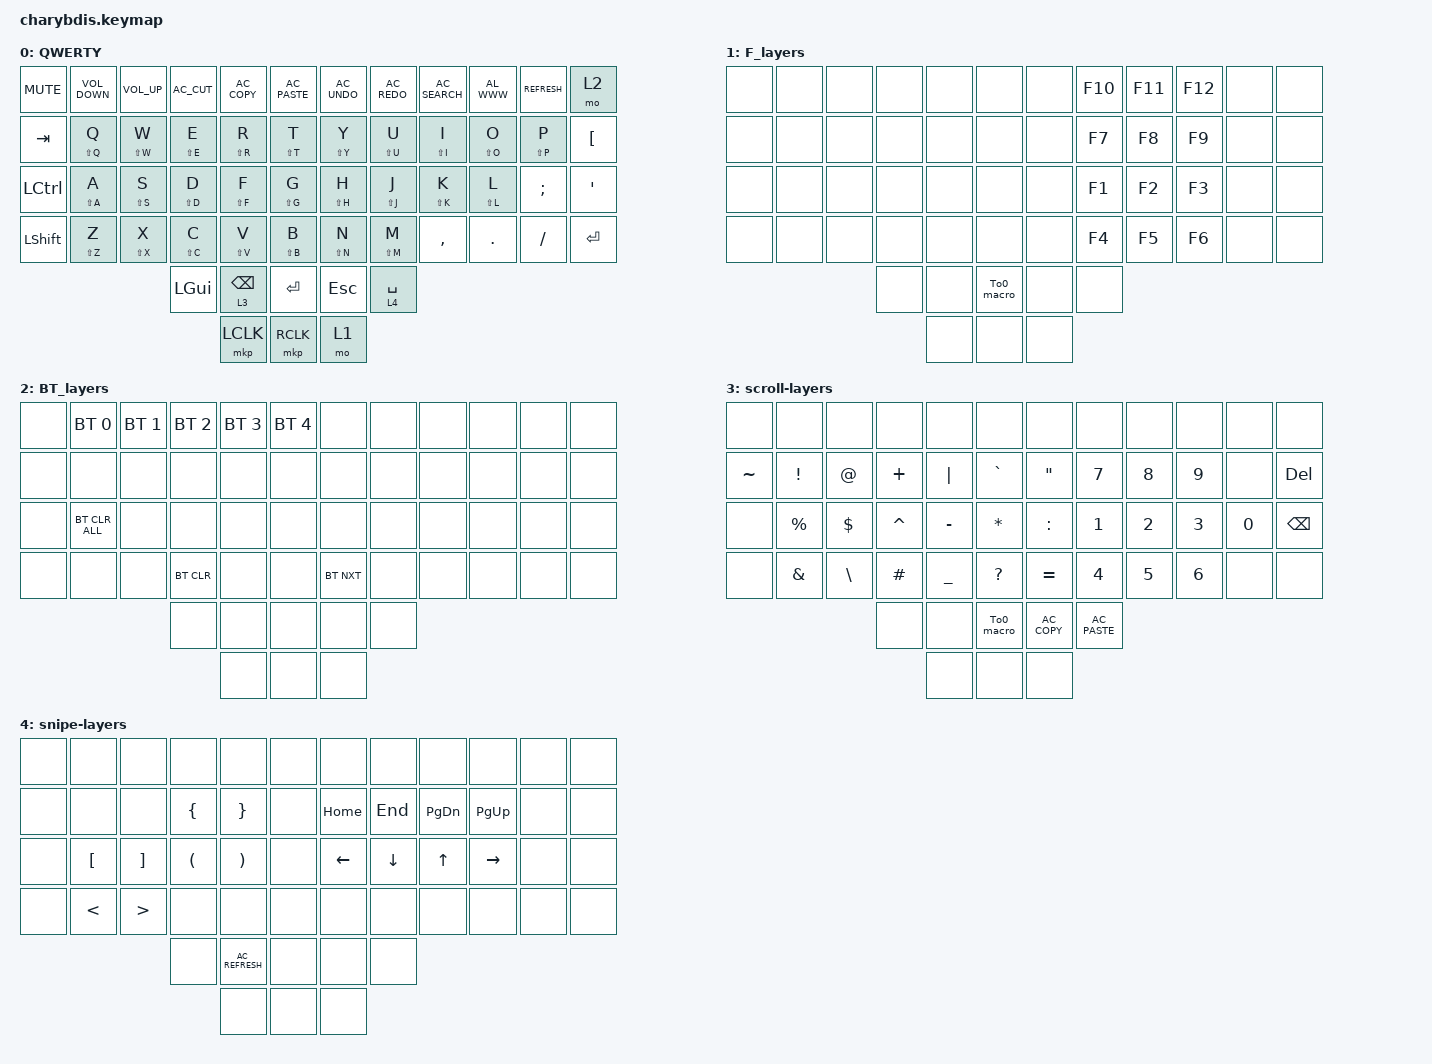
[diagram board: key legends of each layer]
#include <behaviors.dtsi>
#include <dt-bindings/zmk/bt.h>
#include <dt-bindings/zmk/keys.h>
#include <dt-bindings/zmk/pointing.h>
#include <dt-bindings/zmk/rgb.h>

&lt {
    tapping-term-ms = <200>;
    flavor = "balanced";
    quick-tap-ms = <150>;
};

&mt { flavor = "tap-preferred"; };

/ {
    macros {
        To1_macro: To1_macro {
            compatible = "zmk,behavior-macro";
            label = "To1_macro";
            #binding-cells = <0>;
            bindings = <&rgb_ug RGB_EFF &rgb_ug RGB_COLOR_HSB(128,100,50) &to 1>;
        };

        To0_macro: To0_macro {
            compatible = "zmk,behavior-macro";
            label = "To0_macro";
            #binding-cells = <0>;
            bindings = <&rgb_ug RGB_EFR &to 0>;
        };

        To2_macro: To2_macro {
            compatible = "zmk,behavior-macro";
            label = "To2_macro";
            #binding-cells = <0>;
            bindings =
                <&to 2>,
                <&macro_wait_time 30>,
                <&rgb_ug RGB_COLOR_HSB(250,100,50)>;
        };
    };

    keymap {
        compatible = "zmk,keymap";

        QWERTY {
            bindings = <
&kp C_MUTE        &kp C_VOLUME_DOWN  &kp C_VOLUME_UP  &kp C_AC_CUT  &kp C_AC_COPY    &kp C_AC_PASTE    &kp C_AC_UNDO  &kp C_AC_REDO  &kp C_AC_SEARCH  &kp C_AL_WWW  &kp K_REFRESH  &mo 2
&kp TAB           &mt LS(Q) Q        &mt LS(W) W      &mt LS(E) E   &mt LS(R) R      &mt LS(T) T       &mt LS(Y) Y    &mt LS(U) U    &mt LS(I) I      &mt LS(O) O   &mt LS(P) P    &kp LEFT_BRACKET
&kp LEFT_CONTROL  &mt LS(A) A        &mt LS(S) S      &mt LS(D) D   &mt LS(F) F      &mt LS(G) G       &mt LS(H) H    &mt LS(J) J    &mt LS(K) K      &mt LS(L) L   &kp SEMI       &kp SQT
&kp LEFT_SHIFT    &mt LS(Z) Z        &mt LS(X) X      &mt LS(C) C   &mt LS(V) V      &mt LS(B) B       &mt LS(N) N    &mt LS(M) M    &kp COMMA        &kp DOT       &kp FSLH       &kp ENTER
                                                      &kp LEFT_GUI  &lt 3 BACKSPACE  &kp ENTER         &kp ESCAPE     &lt 4 SPACE
                                                                    &mkp LCLK        &mkp RCLK         &mo 1
            >;
        };

        F_layers {
            bindings = <
&none  &none  &none  &none  &none  &none         &none  &kp F10  &kp F11  &kp F12  &none  &none
&none  &none  &none  &none  &none  &none         &none  &kp F7   &kp F8   &kp F9   &none  &none
&none  &none  &none  &none  &none  &none         &none  &kp F1   &kp F2   &kp F3   &none  &none
&none  &none  &none  &none  &none  &none         &none  &kp F4   &kp F5   &kp F6   &none  &none
                     &none  &none  &To0_macro    &none  &none
                            &none  &none         &none
            >;
        };

        BT_layers {
            bindings = <
&none  &bt BT_SEL 0    &bt BT_SEL 1  &bt BT_SEL 2  &bt BT_SEL 3  &bt BT_SEL 4    &none       &none  &none  &none  &none  &none
&none  &none           &none         &none         &none         &none           &none       &none  &none  &none  &none  &none
&none  &bt BT_CLR_ALL  &none         &none         &none         &none           &none       &none  &none  &none  &none  &none
&none  &none           &none         &bt BT_CLR    &none         &none           &bt BT_NXT  &none  &none  &none  &none  &none
                                     &none         &none         &none           &none       &none
                                                   &none         &none           &none
            >;
        };

        scroll-layers {
            bindings = <
&none      &none            &none          &none      &none           &none           &none              &none           &none   &none   &none   &none
&kp TILDE  &kp EXCLAMATION  &kp AT_SIGN    &kp PLUS   &kp PIPE        &kp GRAVE       &kp DOUBLE_QUOTES  &kp N7          &kp N8  &kp N9  &none   &kp DELETE
&none      &kp PERCENT      &kp DOLLAR     &kp CARET  &kp MINUS       &kp ASTERISK    &kp COLON          &kp N1          &kp N2  &kp N3  &kp N0  &kp BACKSPACE
&none      &kp AMPERSAND    &kp BACKSLASH  &kp HASH   &kp UNDERSCORE  &kp QUESTION    &kp EQUAL          &kp N4          &kp N5  &kp N6  &none   &none
                                           &none      &none           &To0_macro      &kp C_AC_COPY      &kp C_AC_PASTE
                                                      &none           &none           &none
            >;
        };

        snipe-layers {
            bindings = <
&none  &none             &none              &none                 &none                  &none    &none           &none           &none          &none            &none  &none
&none  &none             &none              &kp LEFT_BRACE        &kp RIGHT_BRACE        &none    &kp HOME        &kp END         &kp PAGE_DOWN  &kp PAGE_UP      &none  &none
&none  &kp LEFT_BRACKET  &kp RIGHT_BRACKET  &kp LEFT_PARENTHESIS  &kp RIGHT_PARENTHESIS  &none    &kp LEFT_ARROW  &kp DOWN_ARROW  &kp UP_ARROW   &kp RIGHT_ARROW  &none  &none
&none  &kp LESS_THAN     &kp GREATER_THAN   &none                 &none                  &none    &none           &none           &none          &none            &none  &none
                                            &none                 &kp C_AC_REFRESH       &none    &none           &none
                                                                  &none                  &none    &none
            >;
        };
    };
};
